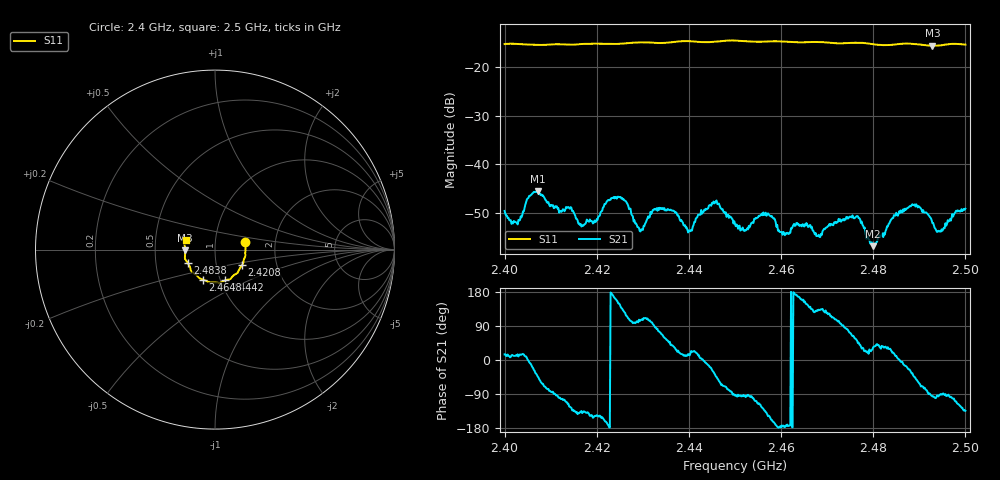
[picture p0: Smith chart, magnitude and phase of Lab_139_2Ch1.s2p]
# Hz S RI R 50
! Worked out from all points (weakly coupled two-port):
!   601 points, 2.4 GHz to 2.5 GHz, reference 50 ohm
!   highest |S21| = -45.58 dB at 2.4072 GHz (marker M1); lowest = -56.9 dB at 2.48 GHz (marker M2)
!   lowest |S11| = -15.6 dB at 2.4928 GHz (marker M3), VSWR 1.40, Z = 35.8 - j0.354 ohm
!   |S11| at or under -10 dB: start of sweep to end of sweep
!   S12 and S22 are empty: the file has one direction only
!   S11 on the Smith chart (normalised r, x): 2.4 GHz: 1.40, +0.12; 2.4208 GHz: 1.33, -0.24; 2.4442 GHz: 1.05, -0.37; 2.4648 GHz: 0.83, -0.29; 2.4838 GHz: 0.73, -0.11; 2.5 GHz: 0.72, +0.08
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2.4e9  0.1678 0.0411  0.00319 0.000842  0 0  0 0
2.402833e9  0.1713 0.0257  0.00232 0.000615  0 0  0 0
2.407167e9  0.1692 -0.0107  0.00383 -0.0036  0 0  0 0
2.416667e9  0.1589 -0.068  -0.0016 -0.00162  0 0  0 0
2.420833e9  0.1507 -0.0873  -0.00274 -0.00164  0 0  0 0
2.425e9  0.1359 -0.1082  -0.00382 0.00255  0 0  0 0
2.4295e9  0.126 -0.1289  -0.000528 0.00196  0 0  0 0
2.433333e9  0.1078 -0.1403  0.000836 0.00343  0 0  0 0
2.440167e9  0.0812 -0.1662  0.00203 0.000437  0 0  0 0
2.444167e9  0.0568 -0.1715  0.00342 -0.000814  0 0  0 0
2.45e9  0.0246 -0.1861  -0.000157 -0.00241  0 0  0 0
2.456667e9  -0.0183 -0.1822  -0.00233 -0.00214  0 0  0 0
2.464833e9  -0.0683 -0.1669  -0.00222 0.000846  0 0  0 0
2.466667e9  -0.0801 -0.1627  -0.00159 0.00162  0 0  0 0
2.476667e9  -0.1305 -0.1216  0.00206 0.00205  0 0  0 0
2.48e9  -0.1374 -0.1039  0.00118 0.000801  0 0  0 0
2.483333e9  -0.1504 -0.0762  0.0021 0.00118  0 0  0 0
2.483833e9  -0.1532 -0.0722  0.00239 0.00119  0 0  0 0
2.488833e9  -0.1677 -0.0441  0.00273 -0.00263  0 0  0 0
2.492833e9  -0.1659 -0.00481  -0.000263 -0.00246  0 0  0 0
2.4945e9  -0.1669 0.0131  -6.34e-05 -0.00204  0 0  0 0
2.5e9  -0.1622 0.0529  -0.00241 -0.0025  0 0  0 0
